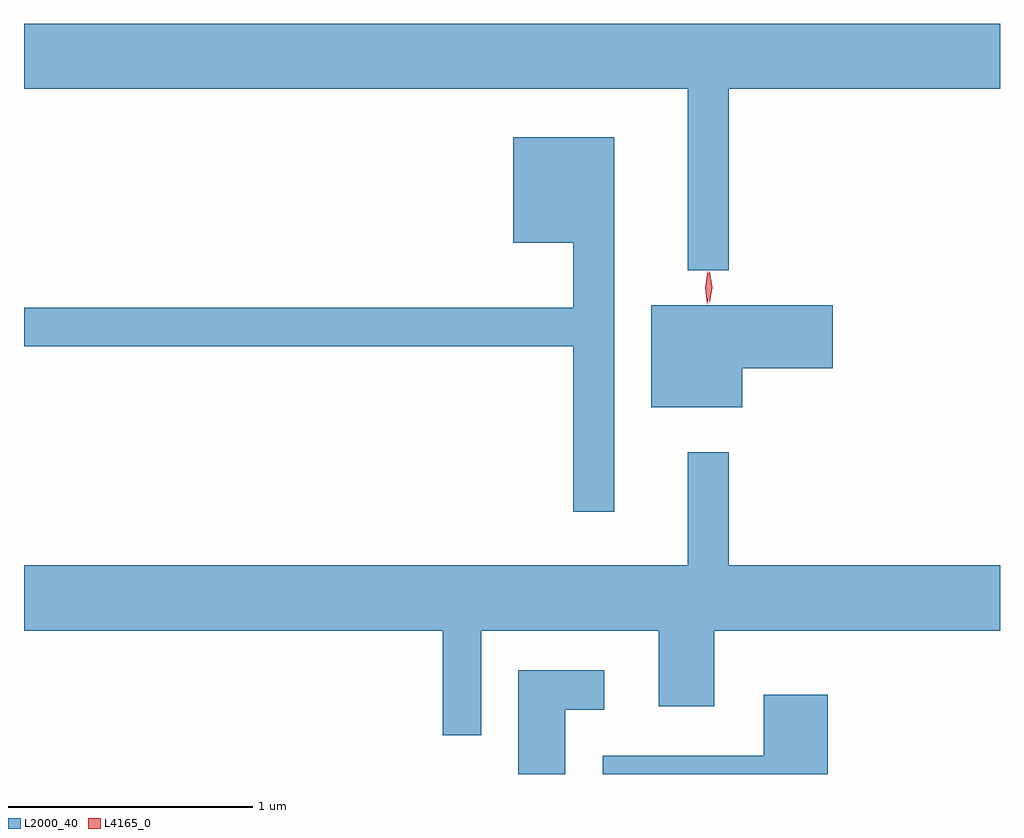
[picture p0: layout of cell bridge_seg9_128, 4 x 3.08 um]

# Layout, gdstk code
import gdstk
lib = gdstk.Library(unit=1e-6, precision=1e-09)
def P(c, l, *ps):  # polygons
    for p in ps: c.add(gdstk.Polygon(p, *l))
L2000_40 = (2000, 40)
L4165_0 = (4165, 0)

bridge_seg9_128 = lib.new_cell('bridge_seg9_128')
P(bridge_seg9_128, L2000_40, [(1317.299,2038.436),(1318.41,2038.436),(1318.41,2038.704),(1314.41,2038.704),(1314.41,2038.436),(1317.131,2038.436),(1317.131,2037.693),(1317.299,2037.693)],
  [(1316.829,2038.239),(1316.416,2038.239),(1316.416,2037.806),(1316.661,2037.806),(1316.661,2037.539),(1314.41,2037.539),(1314.41,2037.381),(1316.661,2037.381),(1316.661,2036.703),(1316.829,2036.703)],
  [(1317.354,2037.291),(1317.724,2037.291),(1317.724,2037.549),(1316.981,2037.549),(1316.981,2037.131),(1317.354,2037.131)],
  [(1316.284,2036.216),(1317.011,2036.216),(1317.011,2035.906),(1317.239,2035.906),(1317.239,2036.216),(1318.41,2036.216),(1318.41,2036.484),(1317.299,2036.484),(1317.299,2036.948),(1317.131,2036.948),(1317.131,2036.484),(1314.41,2036.484),(1314.41,2036.216),(1316.126,2036.216),(1316.126,2035.788),(1316.284,2035.788)],
  [(1316.629,2035.891),(1316.788,2035.891),(1316.788,2036.054),(1316.436,2036.054),(1316.436,2035.627),(1316.629,2035.627)],
  [(1317.704,2035.954),(1317.441,2035.954),(1317.441,2035.704),(1316.781,2035.704),(1316.781,2035.627),(1317.704,2035.627)])
P(bridge_seg9_128, L4165_0, [(1317.21,2037.554),(1317.202,2037.622),(1317.212,2037.69),(1317.212,2037.69),(1317.213,2037.69),(1317.222,2037.622),(1317.211,2037.554),(1317.211,2037.554)],
  [(1317.22,2037.56),(1317.22,2037.56),(1317.21,2037.624),(1317.219,2037.686),(1317.22,2037.687),(1317.22,2037.686),(1317.23,2037.624),(1317.221,2037.56)])

lib.write_gds('bridge_seg9_128.gds')
